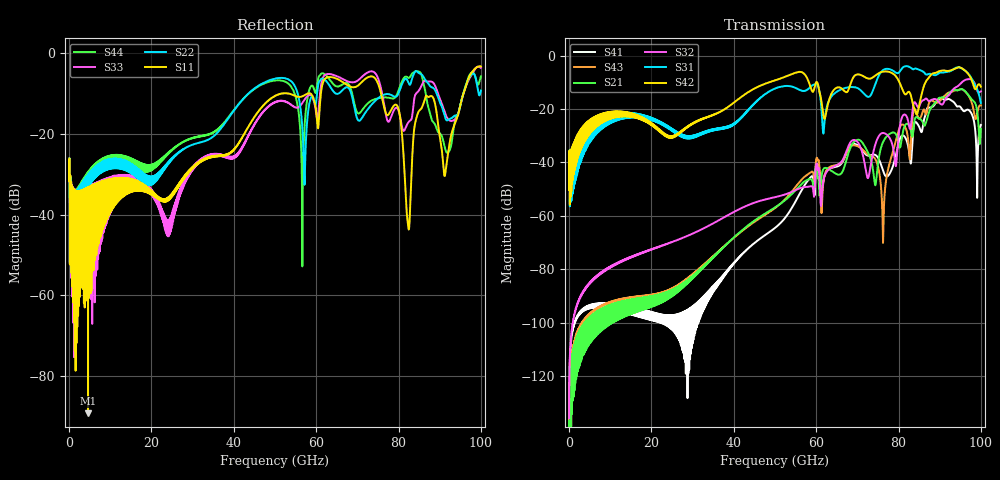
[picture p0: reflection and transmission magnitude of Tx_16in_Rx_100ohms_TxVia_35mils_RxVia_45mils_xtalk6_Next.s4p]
! Info: Touchstone file created by Circ.  Input file=Tx_16in_Rx_100ohms_TxVia_35mils_RxVia_45mils.circ
# Hz S RI R 50
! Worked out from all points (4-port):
!   10000 points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, 10 MHz to 100 GHz, reference 50 ohm
!   strongest paths, dB at 10 MHz, 25.01 GHz, 50.01 GHz, 75.01 GHz, 100 GHz:
!     S42: -50.3, -30.8, -9.3, -6.7, -11.6
!     S31: -50.3, -27.9, -12.4, -8.2, -17.7
!     S32: -135.8, -69.8, -53.0, -30.7, -13.4
!     S21: -145.3, -89.1, -56.8, -40.5, -27.5
!     S43: -143.8, -88.3, -57.1, -41.5, -18.7
!     S41: -135.8, -98.1, -64.5, -38.2, -26.0
!   lowest |S11| = -89.3 dB at 4.61 GHz (marker M1), VSWR 1.00, Z = 50 + j0.00191 ohm
!   |S11| at or under -10 dB: start of sweep to 51.3 GHz; 53.43 GHz to 57.87 GHz (4.446 GHz wide, 7.99 % of centre); 75.76 GHz to 95.75 GHz (19.99 GHz wide, 23.3 % of centre)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
1e7  0.0247 0.00878  3.09e-08 4.47e-08  0.00118 0.00281  1.01e-07 1.28e-07
     3.09e-08 4.47e-08  0.0247 0.00878  5.95e-08 1.51e-07  0.00118 0.00281
     0.00118 0.00281  5.95e-08 1.51e-07  0.0245 0.00883  3.65e-08 5.36e-08
     1.01e-07 1.28e-07  0.00118 0.00281  3.65e-08 5.36e-08  0.0245 0.00883
4.61e9  2.87e-05 1.91e-05  1.52e-06 7.71e-06  0.0127 0.0178  -1.82e-05 -1.78e-06
        1.52e-06 7.71e-06  0.0179 0.0123  2.85e-05 4.28e-05  0.0223 0.022
        0.0127 0.0178  2.85e-05 4.28e-05  -0.00172 2.96e-05  2.38e-06 8.5e-06
        -1.82e-05 -1.78e-06  0.0223 0.022  2.38e-06 8.5e-06  0.0201 0.014
3.86e10  0.0204 -0.0532  -0.000296 9.34e-05  0.021 -0.0424  -8.17e-05 4.66e-05
         -0.000296 9.34e-05  -0.1347 -0.0766  -0.000949 0.000411  -0.0947 -0.0558
         0.021 -0.0424  -0.000949 0.000411  0.0355 -0.0379  -0.000218 0.000219
         -8.17e-05 4.66e-05  -0.0947 -0.0558  -0.000218 0.000219  -0.1324 -0.0894
7.337e10  -0.2827 -0.4354  -0.0051 -0.00925  -0.00706 0.1877  -0.0112 -0.00802
          -0.0051 -0.00925  -0.0584 0.2212  -0.00686 0.00724  0.3083 -0.2151
          -0.00706 0.1877  -0.00686 0.00724  -0.3548 -0.484  -0.0117 -0.00631
          -0.0112 -0.00802  0.3083 -0.2151  -0.0117 -0.00631  -0.0757 0.2474
8.236e10  -0.00684 -0.00189  -0.0287 0.0425  -0.1877 -0.5963  -0.0161 0.0113
          -0.0287 0.0425  -0.1889 -0.395  -0.0548 -0.0203  0.00512 0.2092
          -0.1877 -0.5963  -0.0548 -0.0203  0.0229 -0.1371  -0.0257 0.00282
          -0.0161 0.0113  0.00512 0.2092  -0.0257 0.00282  -0.1478 -0.4752
8.481e10  -0.0804 -0.1689  0.0227 0.063  -0.5469 0.0422  0.0232 0.0438
          0.0227 0.063  -0.5475 -0.181  -0.0924 0.0537  -0.012 -0.0965
          -0.5469 0.0422  -0.0924 0.0537  -0.2287 -0.2514  -0.0207 0.0649
          0.0232 0.0438  -0.012 -0.0965  -0.0207 0.0649  -0.5869 -0.1166
1e11  -0.5614 0.4002  0.0376 -0.0195  0.0812 0.1012  -0.0373 -0.0338
      0.0376 -0.0195  -0.3443 0.0315  0.06 0.2056  0.0185 0.261
      0.0812 0.1012  0.06 0.2056  -0.5597 0.352  0.066 -0.0961
      -0.0373 -0.0338  0.0185 0.261  0.066 -0.0961  -0.5122 0.0748
